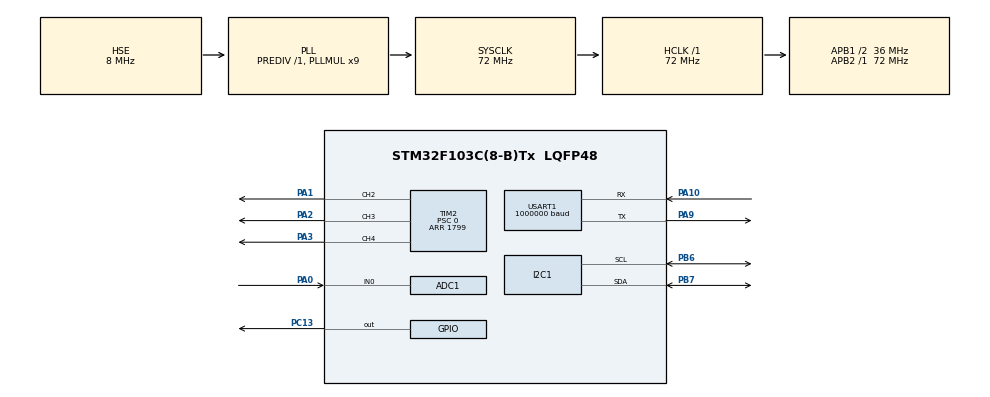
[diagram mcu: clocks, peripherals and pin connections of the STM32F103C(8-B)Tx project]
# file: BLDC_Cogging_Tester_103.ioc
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ADC1.Channel-1\#ChannelRegularConversion=ADC_CHANNEL_0
ADC1.ContinuousConvMode=ENABLE
ADC1.ExternalTrigConv=ADC_SOFTWARE_START
ADC1.NbrOfConversionFlag=1
ADC1.Rank-1\#ChannelRegularConversion=1
ADC1.SamplingTime-1\#ChannelRegularConversion=ADC_SAMPLETIME_239CYCLES_5
ADC1.master=1
Mcu.Family=STM32F1
Mcu.Name=STM32F103C(8-B)Tx
Mcu.Package=LQFP48
NVIC.ADC1_2_IRQn=true\:0\:0\:false\:false\:true\:true\:true\:true
NVIC.I2C1_EV_IRQn=true\:0\:0\:false\:false\:true\:true\:true\:true
NVIC.PriorityGroup=NVIC_PRIORITYGROUP_4
NVIC.TIM3_IRQn=true\:0\:0\:false\:false\:true\:true\:true\:true
NVIC.USART1_IRQn=true\:0\:0\:false\:false\:true\:true\:true\:true
PA0-WKUP.Signal=ADCx_IN0
PA1.Signal=S_TIM2_CH2
PA10.Mode=Asynchronous
PA10.Signal=USART1_RX
PA13.Mode=Serial_Wire
PA13.Signal=SYS_JTMS-SWDIO
PA14.Mode=Serial_Wire
PA14.Signal=SYS_JTCK-SWCLK
PA2.Signal=S_TIM2_CH3
PA3.Signal=S_TIM2_CH4
PA9.Mode=Asynchronous
PA9.Signal=USART1_TX
PB6.Mode=I2C
PB6.Signal=I2C1_SCL
PB7.Mode=I2C
PB7.Signal=I2C1_SDA
PC13-TAMPER-RTC.GPIO_PuPd=GPIO_PULLDOWN
PC13-TAMPER-RTC.Signal=GPIO_Output
PC14-OSC32_IN.Mode=LSE-External-Oscillator
PC14-OSC32_IN.Signal=RCC_OSC32_IN
PC15-OSC32_OUT.Mode=LSE-External-Oscillator
PC15-OSC32_OUT.Signal=RCC_OSC32_OUT
PD0-OSC_IN.Mode=HSE-External-Oscillator
PD0-OSC_IN.Signal=RCC_OSC_IN
PD1-OSC_OUT.Mode=HSE-External-Oscillator
PD1-OSC_OUT.Signal=RCC_OSC_OUT
ProjectManager.HeapSize=0x200
ProjectManager.StackSize=0x400
ProjectManager.TargetToolchain=STM32CubeIDE
RCC.ADCPresc=RCC_ADCPCLK2_DIV6
RCC.AHBFreq_Value=72000000
RCC.APB1CLKDivider=RCC_HCLK_DIV2
RCC.APB1Freq_Value=36000000
RCC.APB1TimFreq_Value=72000000
RCC.APB2Freq_Value=72000000
RCC.APB2TimFreq_Value=72000000
RCC.HCLKFreq_Value=72000000
RCC.PLLMUL=RCC_PLL_MUL9
RCC.PLLSourceVirtual=RCC_PLLSOURCE_HSE
RCC.SYSCLKFreq_VALUE=72000000
RCC.SYSCLKSource=RCC_SYSCLKSOURCE_PLLCLK
RCC.USBFreq_Value=72000000
SH.ADCx_IN0.0=ADC1_IN0,IN0
SH.S_TIM2_CH2.0=TIM2_CH2,PWM Generation2 CH2
SH.S_TIM2_CH3.0=TIM2_CH3,PWM Generation3 CH3
SH.S_TIM2_CH4.0=TIM2_CH4,PWM Generation4 CH4
TIM1.Prescaler=71
TIM2.Channel-PWM\ Generation2\ CH2=TIM_CHANNEL_2
TIM2.Channel-PWM\ Generation3\ CH3=TIM_CHANNEL_3
TIM2.Channel-PWM\ Generation4\ CH4=TIM_CHANNEL_4
TIM2.CounterMode=TIM_COUNTERMODE_CENTERALIGNED1
TIM2.Period=1799
TIM2.Prescaler=0
TIM3.AutoReloadPreload=TIM_AUTORELOAD_PRELOAD_DISABLE
TIM3.Period=999
TIM3.Prescaler=71
USART1.BaudRate=1000000
USART1.VirtualMode=VM_ASYNC
VP_TIM1_VS_ClockSourceINT.Mode=Internal
VP_TIM2_VS_ClockSourceINT.Mode=Internal
VP_TIM3_VS_ClockSourceINT.Mode=Internal
board=custom

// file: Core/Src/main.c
/* USER CODE BEGIN Header */
/**
  ******************************************************************************
  * @file           : main.c
  * @brief          : Main program body
  ******************************************************************************
  * @attention
  *
  * Copyright (c) 2025 STMicroelectronics.
  * All rights reserved.
  *
  * This software is licensed under terms that can be found in the LICENSE file
  * in the root directory of this software component.
  * If no LICENSE file comes with this software, it is provided AS-IS.
  *
  ******************************************************************************
  */
/* USER CODE END Header */
#include "main.h"

/* USER CODE BEGIN Includes */
#include "spwm.h"
/* USER CODE END Includes */

/* USER CODE BEGIN PD */
#define ADDR_ENCODER 0x36
#define ADDR_REG_ANGLE_H 0x0C
#define ADDR_REG_ANGLE_L 0x0D

/* USER CODE END PD */

/* USER CODE BEGIN PM */
;
/* USER CODE END PM */

ADC_HandleTypeDef hadc1;

I2C_HandleTypeDef hi2c1;

TIM_HandleTypeDef htim1;
TIM_HandleTypeDef htim2;
TIM_HandleTypeDef htim3;

UART_HandleTypeDef huart1;

void SystemClock_Config(void);
static void MX_GPIO_Init(void);
static void MX_ADC1_Init(void);
static void MX_I2C1_Init(void);
static void MX_TIM3_Init(void);
static void MX_USART1_UART_Init(void);
static void MX_TIM2_Init(void);
static void MX_TIM1_Init(void);

/* USER CODE BEGIN 0 */

uint16_t T = 0;
uint16_t T_prev = 0;
uint16_t dt = 0;

uint16_t T_uart = 0;
uint16_t Period_uart = 2000;  // [us]

uint32_t T_cmd = 0;
uint32_t Period_cmd = 250000;  // [us]

uint16_t encoder_T = 0;
uint16_t encoder_T_prev = 0;
uint16_t encoder_dt = 0;

const uint16_t encoder_offset = 410;
const uint8_t right_step = 180;

uint8_t i2c1_buf_H = 0;
uint8_t i2c1_buf_L = 0;
uint16_t encoder_value = 0;
uint16_t encoder_value_prev = 0;
int16_t encoder_speed = 0;
int16_t encoder_speed_prev = 0;
int16_t encoder_acc = 0;
uint16_t encoder_value_filtered = 0;
int16_t encoder_speed_filtered = 0;
double encoder_speed_filtered_dt = 0;
double encoder_speed_filtered_dt_prev = 0;
double encoder_accel_filtered_dt = 0;

int16_t encoder_value_multi_turn = 0;
int16_t encoder_turn = 0;

volatile uint8_t i2c1_go = 1;
volatile uint8_t i2c1_proc = 0;
uint8_t i2c1_err = 0;

volatile uint8_t uart1_go = 1;

volatile uint8_t adc1_go = 1;
volatile uint8_t adc1_err = 0;
volatile uint16_t current_value = 0;
double current_value_lpf = 0;
double current_offset = 100;

double lpf_current_alpha = 1;
double lpf_current_output_prev = 0;

double lpf_speed_alpha = 0.05;
double lpf_speed_output_prev = 0;

//////////  PID GAIN  //////////
float motor_current_gain_P = 0.2;
float motor_current_gain_I = 0;
float motor_speed_gain_P = 32000;
float motor_speed_gain_I = 1.4;
float motor_speed_gain_A = 0;
float motor_position_gain_P = 0.00003;
float motor_position_gain_I = 0;
float motor_position_gain_D = 0.002;
////////////////////////////////

uint16_t motor_position = 0;
uint16_t motor_position_prev = 0;
double motor_speed = 0;
double motor_speed_prev = 0;
double motor_speed_filtered = 0;
double motor_acc = 0;
double motor_current = 0;

double motor_current_cmd = 0;
double motor_current_error = 0;
double motor_current_term_P = 0;
double motor_current_term_I = 0;
double motor_current_term_I_max = 6000;
double motor_current_control_out = 0;

double motor_speed_cmd = 0;
double motor_speed_cmd_prev = 0;
double motor_accel_cmd;
double motor_accel_error;
double motor_speed_error = 0;
double motor_speed_term_P = 0;
double motor_speed_term_I = 0;
double motor_speed_term_I_max = 2000;
double motor_speed_term_A = 0;
double motor_speed_control_out = 0;
int8_t motor_speed_control_dir = 1;

uint16_t motor_position_cmd = 0;
int16_t motor_position_error = 0;
int16_t motor_position_error_prev = 0;
double motor_position_term_P = 0;
double motor_position_term_I = 0;
double motor_position_term_I_max = 1000;
double motor_position_term_D = 0;
double motor_position_control_out = 0;

int8_t motor_position_error_sign = 1;
int8_t motor_position_error_sign_prev = 1;

uint16_t motor_speed_plot = 0;
uint16_t motor_speed_cmd_plot = 0;
uint16_t motor_current_plot = 0;
uint16_t motor_current_cmd_plot = 0;

void HAL_TIM_PeriodElapsedCallback(TIM_HandleTypeDef *htim){
	if(htim->Instance == TIM3){
	}
}
void HAL_I2C_MemRxCpltCallback(I2C_HandleTypeDef *hi2c) {
    if (hi2c->Instance == I2C1) {
    	i2c1_go = 1;
    	if(i2c1_proc == 1){ i2c1_proc = 2; }
    	if(i2c1_proc == 3){
    		i2c1_proc = 0;
    	}
    }
}
void HAL_UART_TxCpltCallback(UART_HandleTypeDef *huart){
	if(huart->Instance == USART1){
		uart1_go = 1;
	}
}
void HAL_ADC_ConvCpltCallback(ADC_HandleTypeDef *hadc){
	if(hadc->Instance == ADC1){
		adc1_go = 1;
		current_value = HAL_ADC_GetValue(hadc);
	}
}

void get_accel_cmd(){
	motor_accel_cmd = (double)motor_speed_cmd - (double)motor_speed_cmd_prev;
	motor_speed_cmd_prev = motor_speed_cmd;

	motor_speed_cmd_prev = motor_speed_cmd;
	motor_accel_error = motor_accel_cmd - encoder_accel_filtered_dt;
}

double lpf_current(double input, double alpha){
	double output = (alpha*input) + ((1.0-alpha)*lpf_current_output_prev);
	lpf_current_output_prev = output;
	return output;
}

double lpf_speed(double input, double alpha){
	double output = (alpha*input) + ((1.0-alpha)*lpf_speed_output_prev);
	lpf_speed_output_prev = output;
	return output;
}

void dt_update(){
	T_prev = T;
	T = TIM1->CNT;
	dt = T - T_prev;
}

void encoder_dt_update(){
	encoder_T_prev = encoder_T;
	encoder_T = TIM1->CNT;
	encoder_dt = encoder_T - encoder_T_prev;
}

void encoder_read(){
	if(i2c1_proc == 0){
		encoder_dt_update();
		encoder_value_prev = encoder_value;
		encoder_value = ((i2c1_buf_H << 8) | i2c1_buf_L);
		encoder_speed_prev = encoder_speed;
		encoder_speed = encoder_value - encoder_value_prev;
		encoder_acc = encoder_speed - encoder_speed_prev;
		if(abs(encoder_acc) < 100){
			encoder_value_filtered = encoder_value;
			encoder_speed_filtered = encoder_speed;
			encoder_speed_filtered_dt = (double)encoder_speed_filtered / (double)encoder_dt;// * (double)1000.0;
		}
		//if(encoder_value > 3800 && encoder_value_prev < 200){ encoder_turn--; }
		//if(encoder_value < 200 && encoder_value_prev > 3800){ encoder_turn++; }
		//encoder_value_multi_turn = encoder_turn * 4096 + encoder_value_filtered;
		encoder_value_multi_turn = encoder_value_filtered;

		if(HAL_I2C_Mem_Read_IT(&hi2c1, (ADDR_ENCODER << 1), ADDR_REG_ANGLE_H, 1, &i2c1_buf_H, 1U) == HAL_OK){ i2c1_proc = 1; }
		else{ i2c1_err = 1; }
	}
	if(i2c1_proc == 2){
		if(HAL_I2C_Mem_Read_IT(&hi2c1, (ADDR_ENCODER << 1), ADDR_REG_ANGLE_L, 1, &i2c1_buf_L, 1U) == HAL_OK){ i2c1_proc = 3; }
		else{ i2c1_err = 1;}
	}
}

void spwm(uint16_t idx_1, uint8_t power){
	idx_1 %= 720;

	uint16_t idx_2 = idx_1 + 240;
	uint16_t idx_3 = idx_1 + 480;
	idx_2 %= 720;
	idx_3 %= 720;
	float u = ((float)spwm_arr[idx_1] * (float)power / 255.0);
	float v = ((float)spwm_arr[idx_2] * (float)power / 255.0);
	float w = ((float)spwm_arr[idx_3] * (float)power / 255.0);

	TIM2->CCR2 = (uint16_t)(u + 0.5f);
	TIM2->CCR3 = (uint16_t)(v + 0.5f);
	TIM2->CCR4 = (uint16_t)(w + 0.5f);
}

void torque(int16_t v){
	if(v > 255){ v = 255; }
	if(v < -255){ v = -255; }

	uint16_t encoder = encoder_value_filtered + encoder_offset;
	encoder %= (uint16_t)(4096.0/7.0);
	int16_t accelation = (int16_t)((float)encoder * 720.0 / 585.0);
	if(v >= 0){ accelation += 180; }
	else { accelation -= 180; }
	if(accelation < 0){ accelation += 720; }
	accelation %= 720;
	spwm(accelation, abs(v));
}

void motor_pid(){
	motor_position_prev = motor_position;
	motor_speed_prev = motor_speed;
	motor_position = encoder_value_filtered;
	motor_speed = lpf_speed((double)(encoder_speed_filtered_dt), lpf_speed_alpha);

	motor_position_error_prev = motor_position_error;
	motor_position_error = motor_position_cmd - motor_position;
	motor_position_term_P = motor_position_error * motor_position_gain_P;
	motor_position_term_I += motor_position_error * motor_position_gain_I * (float)dt;
	if(motor_position_term_I > motor_position_term_I_max){ motor_position_term_I = motor_position_term_I_max; }
	if(motor_position_term_I < -motor_position_term_I_max){ motor_position_term_I = -motor_position_term_I_max; }
	motor_position_term_D = -motor_speed * motor_position_gain_D ;
	motor_position_control_out = motor_position_term_P + motor_position_term_I + motor_position_term_D;
	motor_speed_cmd = motor_position_control_out;

	motor_position_error_sign_prev = motor_position_error_sign;
	if(motor_position_error > 0){ motor_position_error_sign = 1; }
	if(motor_position_error < 0){ motor_position_error_sign = -1; }

	motor_speed_error = motor_speed_cmd - motor_speed;
	motor_speed_term_P = motor_speed_error  * motor_speed_gain_P;

	motor_speed_term_I += motor_speed_error * motor_speed_gain_I * (float)dt;

	if(motor_speed_term_I > motor_speed_term_I_max){ motor_speed_term_I = motor_speed_term_I_max; }
	if(motor_speed_term_I < -motor_speed_term_I_max){ motor_speed_term_I = -motor_speed_term_I_max; }

	motor_speed_control_out = motor_speed_term_P + motor_speed_term_I;
	if (motor_speed_control_out >= 0){ motor_speed_control_dir = 1; }
	else { motor_speed_control_dir = -1; }
	motor_current_cmd = abs((int16_t)motor_speed_control_out);

	motor_current = current_value_lpf;
	motor_current_error = (motor_current_cmd - motor_current);
	motor_current_term_P = motor_current_error * motor_current_gain_P;
	motor_current_term_I += motor_current_error * motor_current_gain_I * (float)dt;
	if(motor_current_term_I > motor_current_term_I_max){ motor_current_term_I = motor_current_term_I_max; }
	if(motor_current_term_I < -motor_current_term_I_max){ motor_current_term_I = -motor_current_term_I_max; }
	motor_current_control_out = motor_current_term_P + motor_current_term_I;
	if(motor_current_control_out < 0){ motor_current_control_out = 0; }

	motor_speed_plot = (uint16_t)(motor_speed * 60000);
	motor_speed_cmd_plot = (uint16_t)(motor_speed_cmd * 60000);
	motor_current_plot = (uint16_t)motor_current;
	motor_current_cmd_plot = (uint16_t)motor_current_cmd;
}

/* USER CODE END 0 */

int main(void)
{

  /* MCU Configuration--------------------------------------------------------*/

  /* Reset of all peripherals, Initializes the Flash interface and the Systick. */
  HAL_Init();

  /* Configure the system clock */
  SystemClock_Config();

  /* Initialize all configured peripherals */
  MX_GPIO_Init();
  MX_ADC1_Init();
  MX_I2C1_Init();
  MX_TIM3_Init();
  MX_USART1_UART_Init();
  MX_TIM2_Init();
  MX_TIM1_Init();
  /* USER CODE BEGIN 2 */
  HAL_TIM_Base_Start(&htim1);
  HAL_TIM_Base_Start_IT(&htim3);

  HAL_TIM_PWM_Start(&htim2, TIM_CHANNEL_2);
  HAL_TIM_PWM_Start(&htim2, TIM_CHANNEL_3);
  HAL_TIM_PWM_Start(&htim2, TIM_CHANNEL_4);

  HAL_NVIC_EnableIRQ(ADC1_IRQn);
  HAL_ADCEx_Calibration_Start(&hadc1);
  //HAL_ADC_Start_IT(&hadc1);

  HAL_GPIO_WritePin(GPIOC, GPIO_PIN_13, GPIO_PIN_SET);

  /* USER CODE END 2 */

  /* Infinite loop */
  /* USER CODE BEGIN WHILE */
  while (1)
  {
	  dt_update();
	  motor_pid();
	  torque((int16_t)motor_current_control_out * motor_speed_control_dir);
	  if (i2c1_go == 1){ i2c1_go = 0; encoder_read(); }
	  if (i2c1_err == 1){ i2c1_err = 0; encoder_read(); }
	  if (adc1_go == 1){
		  adc1_go = 0;
		  if (HAL_ADC_Start_IT(&hadc1) != HAL_OK){ adc1_err = 1; }
	  }

	  current_value_lpf = lpf_current((double)(current_value - current_offset), lpf_current_alpha);

    /* USER CODE END WHILE */

    /* USER CODE BEGIN 3 */

	  T_cmd += dt;
	  if(T_cmd >= Period_cmd){
		  T_cmd -= Period_cmd;

		  if(motor_position_cmd == 1000){ motor_position_cmd = 1500; }
		  else if(motor_position_cmd == 1500){ motor_position_cmd = 900; }
		  else if(motor_position_cmd == 900){ motor_position_cmd = 3000; }
		  else if(motor_position_cmd == 3000){ motor_position_cmd = 2500; }
		  else if(motor_position_cmd == 2500){ motor_position_cmd = 3100; }
		  else if(motor_position_cmd == 3100){ motor_position_cmd = 1000; }
		  else{ motor_position_cmd = 1000; }
/*
		  if(motor_speed_cmd == 0){ motor_speed_cmd = 0.03; }
		  else if(motor_speed_cmd == 0.03){ motor_speed_cmd = 0.0005; }
		  else if(motor_speed_cmd == 0.0005){ motor_speed_cmd = 0; }
		  else{ motor_speed_cmd = 0; }*/
	  }

	  T_uart += dt;
	  if(T_uart >= Period_uart){
		  T_uart -= Period_uart;
		  if(uart1_go == 1){
			  uart1_go = 0;
			  uint8_t buf[50] = { '\0', };
			  uint8_t str_1[5]; uint8_t str_2[5]; uint8_t str_3[5]; uint8_t str_4[5];
			  int16_t plot_min = -10; int16_t plot_max = 10; uint8_t str_eof[2] = "\r\n";
/*
			  			  sprintf(buf, "%d,%d,%d,%d\r\n", plot_min, plot_max, motor_speed_plot, motor_speed_cmd_plot);

			  sprintf(buf, "%d,%d,%d,%d\r\n", motor_speed_plot, motor_speed_cmd_plot,
			  					  motor_current_plot, motor_current_cmd_plot);
*/

			  sprintf(buf, "%d,%d,%d,%d,%d,%d\r\n", motor_speed_plot, motor_speed_cmd_plot,
			  					  motor_current_plot, motor_current_cmd_plot
			  					  ,motor_position, motor_position_cmd);

			  HAL_UART_Transmit_IT(&huart1, buf, 50);
	  	}
	  }

  }
  /* USER CODE END 3 */
}

void SystemClock_Config(void)
{
  RCC_OscInitTypeDef RCC_OscInitStruct = {0};
  RCC_ClkInitTypeDef RCC_ClkInitStruct = {0};
  RCC_PeriphCLKInitTypeDef PeriphClkInit = {0};

  /** Initializes the RCC Oscillators according to the specified parameters
  * in the RCC_OscInitTypeDef structure.
  */
  RCC_OscInitStruct.OscillatorType = RCC_OSCILLATORTYPE_HSE;
  RCC_OscInitStruct.HSEState = RCC_HSE_ON;
  RCC_OscInitStruct.HSEPredivValue = RCC_HSE_PREDIV_DIV1;
  RCC_OscInitStruct.HSIState = RCC_HSI_ON;
  RCC_OscInitStruct.PLL.PLLState = RCC_PLL_ON;
  RCC_OscInitStruct.PLL.PLLSource = RCC_PLLSOURCE_HSE;
  RCC_OscInitStruct.PLL.PLLMUL = RCC_PLL_MUL9;
  if (HAL_RCC_OscConfig(&RCC_OscInitStruct) != HAL_OK)
  {
    Error_Handler();
  }

  /** Initializes the CPU, AHB and APB buses clocks
  */
  RCC_ClkInitStruct.ClockType = RCC_CLOCKTYPE_HCLK|RCC_CLOCKTYPE_SYSCLK
                              |RCC_CLOCKTYPE_PCLK1|RCC_CLOCKTYPE_PCLK2;
  RCC_ClkInitStruct.SYSCLKSource = RCC_SYSCLKSOURCE_PLLCLK;
  RCC_ClkInitStruct.AHBCLKDivider = RCC_SYSCLK_DIV1;
  RCC_ClkInitStruct.APB1CLKDivider = RCC_HCLK_DIV2;
  RCC_ClkInitStruct.APB2CLKDivider = RCC_HCLK_DIV1;

  if (HAL_RCC_ClockConfig(&RCC_ClkInitStruct, FLASH_LATENCY_2) != HAL_OK)
  {
    Error_Handler();
  }
  PeriphClkInit.PeriphClockSelection = RCC_PERIPHCLK_ADC;
  PeriphClkInit.AdcClockSelection = RCC_ADCPCLK2_DIV6;
  if (HAL_RCCEx_PeriphCLKConfig(&PeriphClkInit) != HAL_OK)
  {
    Error_Handler();
  }
}

static void MX_ADC1_Init(void)
{

  ADC_ChannelConfTypeDef sConfig = {0};

  /** Common config
  */
  hadc1.Instance = ADC1;
  hadc1.Init.ScanConvMode = ADC_SCAN_DISABLE;
  hadc1.Init.ContinuousConvMode = ENABLE;
  hadc1.Init.DiscontinuousConvMode = DISABLE;
  hadc1.Init.ExternalTrigConv = ADC_SOFTWARE_START;
  hadc1.Init.DataAlign = ADC_DATAALIGN_RIGHT;
  hadc1.Init.NbrOfConversion = 1;
  if (HAL_ADC_Init(&hadc1) != HAL_OK)
  {
    Error_Handler();
  }

  /** Configure Regular Channel
  */
  sConfig.Channel = ADC_CHANNEL_0;
  sConfig.Rank = ADC_REGULAR_RANK_1;
  sConfig.SamplingTime = ADC_SAMPLETIME_239CYCLES_5;
  if (HAL_ADC_ConfigChannel(&hadc1, &sConfig) != HAL_OK)
  {
    Error_Handler();
  }

}

static void MX_I2C1_Init(void)
{

  hi2c1.Instance = I2C1;
  hi2c1.Init.ClockSpeed = 100000;
  hi2c1.Init.DutyCycle = I2C_DUTYCYCLE_2;
  hi2c1.Init.OwnAddress1 = 0;
  hi2c1.Init.AddressingMode = I2C_ADDRESSINGMODE_7BIT;
  hi2c1.Init.DualAddressMode = I2C_DUALADDRESS_DISABLE;
  hi2c1.Init.OwnAddress2 = 0;
  hi2c1.Init.GeneralCallMode = I2C_GENERALCALL_DISABLE;
  hi2c1.Init.NoStretchMode = I2C_NOSTRETCH_DISABLE;
  if (HAL_I2C_Init(&hi2c1) != HAL_OK)
  {
    Error_Handler();
  }

}

static void MX_TIM1_Init(void)
{

  TIM_ClockConfigTypeDef sClockSourceConfig = {0};
  TIM_MasterConfigTypeDef sMasterConfig = {0};

  htim1.Instance = TIM1;
  htim1.Init.Prescaler = 71;
  htim1.Init.CounterMode = TIM_COUNTERMODE_UP;
  htim1.Init.Period = 65535;
  htim1.Init.ClockDivision = TIM_CLOCKDIVISION_DIV1;
  htim1.Init.RepetitionCounter = 0;
  htim1.Init.AutoReloadPreload = TIM_AUTORELOAD_PRELOAD_DISABLE;
  if (HAL_TIM_Base_Init(&htim1) != HAL_OK)
  {
    Error_Handler();
  }
  sClockSourceConfig.ClockSource = TIM_CLOCKSOURCE_INTERNAL;
  if (HAL_TIM_ConfigClockSource(&htim1, &sClockSourceConfig) != HAL_OK)
  {
    Error_Handler();
  }
  sMasterConfig.MasterOutputTrigger = TIM_TRGO_RESET;
  sMasterConfig.MasterSlaveMode = TIM_MASTERSLAVEMODE_DISABLE;
  if (HAL_TIMEx_MasterConfigSynchronization(&htim1, &sMasterConfig) != HAL_OK)
  {
    Error_Handler();
  }

}

static void MX_TIM2_Init(void)
{

  TIM_ClockConfigTypeDef sClockSourceConfig = {0};
  TIM_MasterConfigTypeDef sMasterConfig = {0};
  TIM_OC_InitTypeDef sConfigOC = {0};

  htim2.Instance = TIM2;
  htim2.Init.Prescaler = 0;
  htim2.Init.CounterMode = TIM_COUNTERMODE_CENTERALIGNED1;
  htim2.Init.Period = 1799;
  htim2.Init.ClockDivision = TIM_CLOCKDIVISION_DIV1;
  htim2.Init.AutoReloadPreload = TIM_AUTORELOAD_PRELOAD_DISABLE;
  if (HAL_TIM_Base_Init(&htim2) != HAL_OK)
  {
    Error_Handler();
  }
  sClockSourceConfig.ClockSource = TIM_CLOCKSOURCE_INTERNAL;
  if (HAL_TIM_ConfigClockSource(&htim2, &sClockSourceConfig) != HAL_OK)
  {
    Error_Handler();
  }
  if (HAL_TIM_PWM_Init(&htim2) != HAL_OK)
  {
    Error_Handler();
  }
  sMasterConfig.MasterOutputTrigger = TIM_TRGO_RESET;
  sMasterConfig.MasterSlaveMode = TIM_MASTERSLAVEMODE_DISABLE;
  if (HAL_TIMEx_MasterConfigSynchronization(&htim2, &sMasterConfig) != HAL_OK)
  {
    Error_Handler();
  }
  sConfigOC.OCMode = TIM_OCMODE_PWM1;
  sConfigOC.Pulse = 0;
  sConfigOC.OCPolarity = TIM_OCPOLARITY_HIGH;
  sConfigOC.OCFastMode = TIM_OCFAST_DISABLE;
  if (HAL_TIM_PWM_ConfigChannel(&htim2, &sConfigOC, TIM_CHANNEL_2) != HAL_OK)
  {
    Error_Handler();
  }
  if (HAL_TIM_PWM_ConfigChannel(&htim2, &sConfigOC, TIM_CHANNEL_3) != HAL_OK)
  {
    Error_Handler();
  }
  if (HAL_TIM_PWM_ConfigChannel(&htim2, &sConfigOC, TIM_CHANNEL_4) != HAL_OK)
  {
    Error_Handler();
  }
  HAL_TIM_MspPostInit(&htim2);

}

static void MX_TIM3_Init(void)
{

  TIM_ClockConfigTypeDef sClockSourceConfig = {0};
  TIM_MasterConfigTypeDef sMasterConfig = {0};

  htim3.Instance = TIM3;
  htim3.Init.Prescaler = 71;
  htim3.Init.CounterMode = TIM_COUNTERMODE_UP;
  htim3.Init.Period = 999;
  htim3.Init.ClockDivision = TIM_CLOCKDIVISION_DIV1;
  htim3.Init.AutoReloadPreload = TIM_AUTORELOAD_PRELOAD_DISABLE;
  if (HAL_TIM_Base_Init(&htim3) != HAL_OK)
  {
    Error_Handler();
  }
  sClockSourceConfig.ClockSource = TIM_CLOCKSOURCE_INTERNAL;
  if (HAL_TIM_ConfigClockSource(&htim3, &sClockSourceConfig) != HAL_OK)
  {
    Error_Handler();
  }
  sMasterConfig.MasterOutputTrigger = TIM_TRGO_RESET;
  sMasterConfig.MasterSlaveMode = TIM_MASTERSLAVEMODE_DISABLE;
  if (HAL_TIMEx_MasterConfigSynchronization(&htim3, &sMasterConfig) != HAL_OK)
  {
    Error_Handler();
  }

}

static void MX_USART1_UART_Init(void)
{

  huart1.Instance = USART1;
  huart1.Init.BaudRate = 1000000;
  huart1.Init.WordLength = UART_WORDLENGTH_8B;
  huart1.Init.StopBits = UART_STOPBITS_1;
  huart1.Init.Parity = UART_PARITY_NONE;
  huart1.Init.Mode = UART_MODE_TX_RX;
  huart1.Init.HwFlowCtl = UART_HWCONTROL_NONE;
  huart1.Init.OverSampling = UART_OVERSAMPLING_16;
  if (HAL_UART_Init(&huart1) != HAL_OK)
  {
    Error_Handler();
  }

}

static void MX_GPIO_Init(void)
{
  GPIO_InitTypeDef GPIO_InitStruct = {0};

  /* GPIO Ports Clock Enable */
  __HAL_RCC_GPIOC_CLK_ENABLE();
  __HAL_RCC_GPIOD_CLK_ENABLE();
  __HAL_RCC_GPIOA_CLK_ENABLE();
  __HAL_RCC_GPIOB_CLK_ENABLE();

  /*Configure GPIO pin Output Level */
  HAL_GPIO_WritePin(GPIOC, GPIO_PIN_13, GPIO_PIN_RESET);

  /*Configure GPIO pin : PC13 */
  GPIO_InitStruct.Pin = GPIO_PIN_13;
  GPIO_InitStruct.Mode = GPIO_MODE_OUTPUT_PP;
  GPIO_InitStruct.Pull = GPIO_PULLDOWN;
  GPIO_InitStruct.Speed = GPIO_SPEED_FREQ_LOW;
  HAL_GPIO_Init(GPIOC, &GPIO_InitStruct);

}

void Error_Handler(void)
{
  __disable_irq();
  while (1)
  {
  }
}
